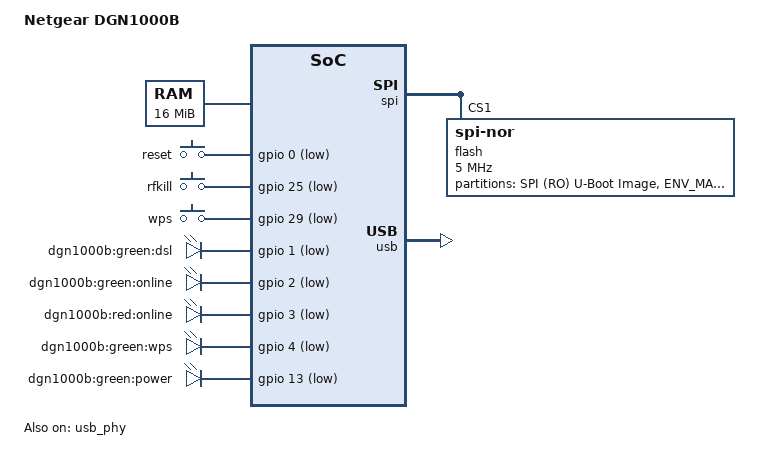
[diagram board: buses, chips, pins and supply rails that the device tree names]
/dts-v1/;

#include "amazonse.dtsi"

#include <dt-bindings/input/input.h>

/ {
	compatible = "netgear,dgn1000b", "lantiq,xway", "lantiq,ase";
	model = "Netgear DGN1000B";

	chosen {
		bootargs = "console=ttyLTQ0,115200";
	};

	aliases {
		led-boot = &power;
		led-failsafe = &power;
		led-running = &power;
		led-upgrade = &power;

		led-dsl = &dsl;
		led-internet = &online_green;
	};

	memory@0 {
		device_type = "memory";
		reg = <0x0 0x1000000>;
	};

	keys {
		compatible = "gpio-keys-polled";
		poll-interval = <100>;

		reset {
			label = "reset";
			gpios = <&gpio 0 GPIO_ACTIVE_LOW>;
			linux,code = <KEY_RESTART>;
		};
		rfkill {
			label = "rfkill";
			gpios = <&gpio 25 GPIO_ACTIVE_LOW>;
			linux,code = <KEY_RFKILL>;
		};
		wps {
			label = "wps";
			gpios = <&gpio 29 GPIO_ACTIVE_LOW>;
			linux,code = <KEY_WPS_BUTTON>;
		};
	};

	leds {
		compatible = "gpio-leds";
		dsl: dsl {
			label = "dgn1000b:green:dsl";
			gpios = <&gpio 1 GPIO_ACTIVE_LOW>;
			default-state = "on";
		};
		online_green: online {
			label = "dgn1000b:green:online";
			gpios = <&gpio 2 GPIO_ACTIVE_LOW>;
			default-state = "on";
		};
		online2 {
			label = "dgn1000b:red:online";
			gpios = <&gpio 3 GPIO_ACTIVE_LOW>;
			default-state = "on";
		};
		wps {
			label = "dgn1000b:green:wps";
			gpios = <&gpio 4 GPIO_ACTIVE_LOW>;
			default-state = "on";
		};
		power: power {
			label = "dgn1000b:green:power";
			gpios = <&gpio 13 GPIO_ACTIVE_LOW>;
			default-state = "keep";
		};
		/*
			power red is missing
		*/
	};
};

&gpio {
	pinctrl-names = "default";
	pinctrl-0 = <&state_default>;

	state_default: pinmux {
		asc {
			lantiq,groups = "asc";
			lantiq,function = "asc";
		};
		keys_in {
			lantiq,pins = "io0",/* "io25", */"io29";
			lantiq,pull = <2>;
			lantiq,open-drain = <1>;
		};
	};
	pins_spi_default: pins_spi_default {
		spi_in {
			lantiq,groups = "spi_di";
			lantiq,function = "spi";
		};
		spi_out {
			lantiq,groups = "spi_do", "spi_clk",
				"spi_cs1";
			lantiq,function = "spi";
			lantiq,output = <1>;
		};
	};
};

&gsw {
	phy-mode = "mii";
	mac-address = [ 00 11 22 33 44 55 ];
};

&spi {
	status = "okay";
	pinctrl-names = "default";
	pinctrl-0 = <&pins_spi_default>;

	flash@1 {
		compatible = "jedec,spi-nor";
		reg = <1>;
		spi-max-frequency = <5000000>;

		partitions {
			compatible = "fixed-partitions";
			#address-cells = <1>;
			#size-cells = <1>;

			partition@0 {
				reg = <0x0 0x20000>;
				label = "SPI (RO) U-Boot Image";
				read-only;
			};

			partition@20000 {
				reg = <0x20000 0x10000>;
				label = "ENV_MAC";
				read-only;
			};

			partition@30000 {
				reg = <0x30000 0x10000>;
				label = "DPF";
				read-only;
			};

			partition@40000 {
				reg = <0x40000 0x10000>;
				label = "NVRAM";
				read-only;
			};

			partition@500000 {
				reg = <0x50000 0x003a0000>;
				label = "kernel";
			};
		};
	};
};

&usb_phy {
	status = "okay";
};

&usb {
	status = "okay";
};
